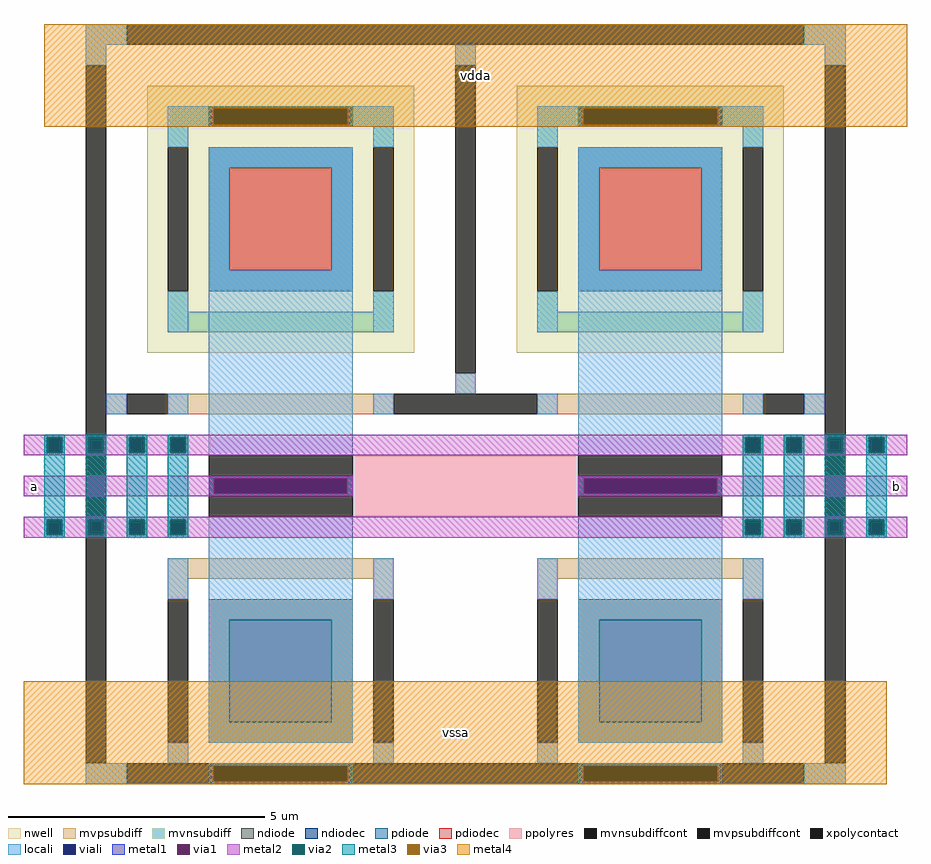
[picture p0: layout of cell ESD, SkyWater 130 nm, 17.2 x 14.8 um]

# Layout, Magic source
magic
tech sky130A
<< nwell >>
rect -200 920 320 1440
rect 520 920 1040 1440
<< mvpsubdiff >>
rect -320 1520 -240 1560
rect 1080 1520 1160 1560
rect -320 1480 -280 1520
rect 400 1480 440 1520
rect 1120 1480 1160 1520
rect 400 840 440 880
rect -280 800 -240 840
rect -160 800 280 840
rect 560 800 1000 840
rect 1080 800 1120 840
rect -160 480 280 520
rect -160 440 -120 480
rect 240 440 280 480
rect -160 120 -120 160
rect 240 120 280 160
rect 560 480 1000 520
rect 560 440 600 480
rect 960 440 1000 480
rect 560 120 600 160
rect 960 120 1000 160
rect -320 80 -240 120
rect 1080 80 1160 120
<< mvnsubdiff >>
rect -160 1360 -80 1400
rect 200 1360 280 1400
rect -160 1320 -120 1360
rect 240 1320 280 1360
rect -160 1000 -120 1040
rect 240 1000 280 1040
rect -160 960 280 1000
rect 560 1360 640 1400
rect 920 1360 1000 1400
rect 560 1320 600 1360
rect 960 1320 1000 1360
rect 560 1000 600 1040
rect 960 1000 1000 1040
rect 560 960 1000 1000
<< mvpsubdiffcont >>
rect -240 1520 1080 1560
rect -320 120 -280 1480
rect 400 880 440 1480
rect -240 800 -160 840
rect 280 800 560 840
rect 1000 800 1080 840
rect -160 160 -120 440
rect 240 160 280 440
rect 560 160 600 440
rect 960 160 1000 440
rect 1120 120 1160 1480
rect -240 80 1080 120
<< mvnsubdiffcont >>
rect -80 1360 200 1400
rect -160 1040 -120 1320
rect 240 1040 280 1320
rect 640 1360 920 1400
rect 560 1040 600 1320
rect 960 1040 1000 1320
<< xpolycontact >>
rect -80 600 200 720
rect 640 600 920 720
<< ppolyres >>
rect 200 600 640 720
<< pdiode >>
rect -80 1280 200 1320
rect -80 1080 -40 1280
rect 160 1080 200 1280
rect -80 1040 200 1080
rect 640 1280 920 1320
rect 640 1080 680 1280
rect 880 1080 920 1280
rect 640 1040 920 1080
<< ndiode >>
rect -80 400 200 440
rect -80 200 -40 400
rect 160 200 200 400
rect -80 160 200 200
rect 640 400 920 440
rect 640 200 680 400
rect 880 200 920 400
rect 640 160 920 200
<< pdiodec >>
rect -40 1080 160 1280
rect 680 1080 880 1280
<< ndiodec >>
rect -40 200 160 400
rect 680 200 880 400
<< locali >>
rect -320 1520 -240 1560
rect 1080 1520 1160 1560
rect -320 1480 -280 1520
rect -400 750 -360 760
rect -400 730 -390 750
rect -370 730 -360 750
rect -400 590 -360 730
rect -400 570 -390 590
rect -370 570 -360 590
rect -400 560 -360 570
rect 400 1480 440 1520
rect -160 1360 -80 1400
rect 200 1360 280 1400
rect -160 1320 -120 1360
rect 240 1320 280 1360
rect -160 960 -120 1040
rect -80 1280 200 1320
rect -80 1080 -40 1280
rect 160 1080 200 1280
rect -280 800 -240 840
rect -160 800 -120 840
rect -240 750 -200 760
rect -240 730 -230 750
rect -210 730 -200 750
rect -240 590 -200 730
rect -240 570 -230 590
rect -210 570 -200 590
rect -240 560 -200 570
rect -160 750 -120 760
rect -160 730 -150 750
rect -130 730 -120 750
rect -160 590 -120 730
rect -160 570 -150 590
rect -130 570 -120 590
rect -160 560 -120 570
rect -80 720 200 1080
rect 240 960 280 1040
rect 1120 1480 1160 1520
rect 560 1360 640 1400
rect 920 1360 1000 1400
rect 560 1320 600 1360
rect 960 1320 1000 1360
rect 560 960 600 1040
rect 640 1280 920 1320
rect 640 1080 680 1280
rect 880 1080 920 1280
rect 400 840 440 880
rect 240 800 280 840
rect 560 800 600 840
rect -160 440 -120 520
rect -80 400 200 600
rect 640 720 920 1080
rect 960 960 1000 1040
rect 960 800 1000 840
rect 1080 800 1120 840
rect -80 200 -40 400
rect 160 200 200 400
rect -80 160 200 200
rect 240 440 280 520
rect -160 120 -120 160
rect 240 120 280 160
rect 560 440 600 520
rect 640 400 920 600
rect 960 750 1000 760
rect 960 730 970 750
rect 990 730 1000 750
rect 960 590 1000 730
rect 960 570 970 590
rect 990 570 1000 590
rect 960 560 1000 570
rect 1040 750 1080 760
rect 1040 730 1050 750
rect 1070 730 1080 750
rect 1040 590 1080 730
rect 1040 570 1050 590
rect 1070 570 1080 590
rect 1040 560 1080 570
rect 640 200 680 400
rect 880 200 920 400
rect 640 160 920 200
rect 960 440 1000 520
rect 560 120 600 160
rect 960 120 1000 160
rect 1200 750 1240 760
rect 1200 730 1210 750
rect 1230 730 1240 750
rect 1200 590 1240 730
rect 1200 570 1210 590
rect 1230 570 1240 590
rect 1200 560 1240 570
rect -320 80 -240 120
rect 1080 80 1160 120
<< viali >>
rect -390 730 -370 750
rect -390 570 -370 590
rect -70 1365 190 1395
rect -310 730 -290 750
rect -310 570 -290 590
rect -230 730 -210 750
rect -230 570 -210 590
rect -150 730 -130 750
rect -150 570 -130 590
rect 650 1365 910 1395
rect -70 645 190 675
rect 650 645 910 675
rect 970 730 990 750
rect 970 570 990 590
rect 1050 730 1070 750
rect 1050 570 1070 590
rect 1130 730 1150 750
rect 1130 570 1150 590
rect 1210 730 1230 750
rect 1210 570 1230 590
rect -70 85 190 115
rect 650 85 910 115
<< metal1 >>
rect -80 1395 200 1400
rect -80 1365 -70 1395
rect 190 1365 200 1395
rect -80 1360 200 1365
rect 640 1395 920 1400
rect 640 1365 650 1395
rect 910 1365 920 1395
rect 640 1360 920 1365
rect -400 755 -360 760
rect -400 725 -395 755
rect -365 725 -360 755
rect -400 720 -360 725
rect -320 755 -280 760
rect -320 725 -315 755
rect -285 725 -280 755
rect -320 720 -280 725
rect -240 755 -200 760
rect -240 725 -235 755
rect -205 725 -200 755
rect -240 720 -200 725
rect -160 755 -120 760
rect -160 725 -155 755
rect -125 725 -120 755
rect -160 720 -120 725
rect 960 755 1000 760
rect 960 725 965 755
rect 995 725 1000 755
rect 960 720 1000 725
rect 1040 755 1080 760
rect 1040 725 1045 755
rect 1075 725 1080 755
rect 1040 720 1080 725
rect 1120 755 1160 760
rect 1120 725 1125 755
rect 1155 725 1160 755
rect 1120 720 1160 725
rect 1200 755 1240 760
rect 1200 725 1205 755
rect 1235 725 1240 755
rect 1200 720 1240 725
rect -80 675 200 680
rect -80 645 -70 675
rect 190 645 200 675
rect -80 640 200 645
rect 640 675 920 680
rect 640 645 650 675
rect 910 645 920 675
rect 640 640 920 645
rect -400 595 -360 600
rect -400 565 -395 595
rect -365 565 -360 595
rect -400 560 -360 565
rect -320 595 -280 600
rect -320 565 -315 595
rect -285 565 -280 595
rect -320 560 -280 565
rect -240 595 -200 600
rect -240 565 -235 595
rect -205 565 -200 595
rect -240 560 -200 565
rect -160 595 -120 600
rect -160 565 -155 595
rect -125 565 -120 595
rect -160 560 -120 565
rect 960 595 1000 600
rect 960 565 965 595
rect 995 565 1000 595
rect 960 560 1000 565
rect 1040 595 1080 600
rect 1040 565 1045 595
rect 1075 565 1080 595
rect 1040 560 1080 565
rect 1120 595 1160 600
rect 1120 565 1125 595
rect 1155 565 1160 595
rect 1120 560 1160 565
rect 1200 595 1240 600
rect 1200 565 1205 595
rect 1235 565 1240 595
rect 1200 560 1240 565
rect -80 115 200 120
rect -80 85 -70 115
rect 190 85 200 115
rect -80 80 200 85
rect 640 115 920 120
rect 640 85 650 115
rect 910 85 920 115
rect 640 80 920 85
<< via1 >>
rect -70 1365 190 1395
rect 650 1365 910 1395
rect -395 750 -365 755
rect -395 730 -390 750
rect -390 730 -370 750
rect -370 730 -365 750
rect -395 725 -365 730
rect -315 750 -285 755
rect -315 730 -310 750
rect -310 730 -290 750
rect -290 730 -285 750
rect -315 725 -285 730
rect -235 750 -205 755
rect -235 730 -230 750
rect -230 730 -210 750
rect -210 730 -205 750
rect -235 725 -205 730
rect -155 750 -125 755
rect -155 730 -150 750
rect -150 730 -130 750
rect -130 730 -125 750
rect -155 725 -125 730
rect 965 750 995 755
rect 965 730 970 750
rect 970 730 990 750
rect 990 730 995 750
rect 965 725 995 730
rect 1045 750 1075 755
rect 1045 730 1050 750
rect 1050 730 1070 750
rect 1070 730 1075 750
rect 1045 725 1075 730
rect 1125 750 1155 755
rect 1125 730 1130 750
rect 1130 730 1150 750
rect 1150 730 1155 750
rect 1125 725 1155 730
rect 1205 750 1235 755
rect 1205 730 1210 750
rect 1210 730 1230 750
rect 1230 730 1235 750
rect 1205 725 1235 730
rect -70 645 190 675
rect 650 645 910 675
rect -395 590 -365 595
rect -395 570 -390 590
rect -390 570 -370 590
rect -370 570 -365 590
rect -395 565 -365 570
rect -315 590 -285 595
rect -315 570 -310 590
rect -310 570 -290 590
rect -290 570 -285 590
rect -315 565 -285 570
rect -235 590 -205 595
rect -235 570 -230 590
rect -230 570 -210 590
rect -210 570 -205 590
rect -235 565 -205 570
rect -155 590 -125 595
rect -155 570 -150 590
rect -150 570 -130 590
rect -130 570 -125 590
rect -155 565 -125 570
rect 965 590 995 595
rect 965 570 970 590
rect 970 570 990 590
rect 990 570 995 590
rect 965 565 995 570
rect 1045 590 1075 595
rect 1045 570 1050 590
rect 1050 570 1070 590
rect 1070 570 1075 590
rect 1045 565 1075 570
rect 1125 590 1155 595
rect 1125 570 1130 590
rect 1130 570 1150 590
rect 1150 570 1155 590
rect 1125 565 1155 570
rect 1205 590 1235 595
rect 1205 570 1210 590
rect 1210 570 1230 590
rect 1230 570 1235 590
rect 1205 565 1235 570
rect -70 85 190 115
rect 650 85 910 115
<< metal2 >>
rect -80 1395 200 1400
rect -80 1365 -70 1395
rect 190 1365 200 1395
rect -80 1360 200 1365
rect 640 1395 920 1400
rect 640 1365 650 1395
rect 910 1365 920 1395
rect 640 1360 920 1365
rect -440 755 1280 760
rect -440 725 -395 755
rect -365 725 -315 755
rect -285 725 -235 755
rect -205 725 -155 755
rect -125 725 965 755
rect 995 725 1045 755
rect 1075 725 1125 755
rect 1155 725 1205 755
rect 1235 725 1280 755
rect -440 720 1280 725
rect -440 675 200 680
rect -440 645 -70 675
rect 190 645 200 675
rect -440 640 200 645
rect 640 675 1280 680
rect 640 645 650 675
rect 910 645 1280 675
rect 640 640 1280 645
rect -440 595 1280 600
rect -440 565 -395 595
rect -365 565 -315 595
rect -285 565 -235 595
rect -205 565 -155 595
rect -125 565 965 595
rect 995 565 1045 595
rect 1075 565 1125 595
rect 1155 565 1205 595
rect 1235 565 1280 595
rect -440 560 1280 565
rect -80 115 200 120
rect -80 85 -70 115
rect 190 85 200 115
rect -80 80 200 85
rect 640 115 920 120
rect 640 85 650 115
rect 910 85 920 115
rect 640 80 920 85
<< via2 >>
rect -70 1365 190 1395
rect 650 1365 910 1395
rect -395 725 -365 755
rect -315 725 -285 755
rect -235 725 -205 755
rect -155 725 -125 755
rect 965 725 995 755
rect 1045 725 1075 755
rect 1125 725 1155 755
rect 1205 725 1235 755
rect -395 565 -365 595
rect -315 565 -285 595
rect -235 565 -205 595
rect -155 565 -125 595
rect 965 565 995 595
rect 1045 565 1075 595
rect 1125 565 1155 595
rect 1205 565 1235 595
rect -70 85 190 115
rect 650 85 910 115
<< metal3 >>
rect -80 1396 200 1400
rect -80 1364 -71 1396
rect 191 1364 200 1396
rect -80 1360 200 1364
rect 640 1396 920 1400
rect 640 1364 649 1396
rect 911 1364 920 1396
rect 640 1360 920 1364
rect -400 755 -360 760
rect -400 725 -395 755
rect -365 725 -360 755
rect -400 595 -360 725
rect -400 565 -395 595
rect -365 565 -360 595
rect -400 560 -360 565
rect -320 755 -280 760
rect -320 725 -315 755
rect -285 725 -280 755
rect -320 595 -280 725
rect -320 565 -315 595
rect -285 565 -280 595
rect -320 560 -280 565
rect -240 755 -200 760
rect -240 725 -235 755
rect -205 725 -200 755
rect -240 595 -200 725
rect -240 565 -235 595
rect -205 565 -200 595
rect -240 560 -200 565
rect -160 755 -120 760
rect -160 725 -155 755
rect -125 725 -120 755
rect -160 595 -120 725
rect -160 565 -155 595
rect -125 565 -120 595
rect -160 560 -120 565
rect 960 755 1000 760
rect 960 725 965 755
rect 995 725 1000 755
rect 960 595 1000 725
rect 960 565 965 595
rect 995 565 1000 595
rect 960 560 1000 565
rect 1040 755 1080 760
rect 1040 725 1045 755
rect 1075 725 1080 755
rect 1040 595 1080 725
rect 1040 565 1045 595
rect 1075 565 1080 595
rect 1040 560 1080 565
rect 1120 755 1160 760
rect 1120 725 1125 755
rect 1155 725 1160 755
rect 1120 595 1160 725
rect 1120 565 1125 595
rect 1155 565 1160 595
rect 1120 560 1160 565
rect 1200 755 1240 760
rect 1200 725 1205 755
rect 1235 725 1240 755
rect 1200 595 1240 725
rect 1200 565 1205 595
rect 1235 565 1240 595
rect 1200 560 1240 565
rect -80 116 200 120
rect -80 84 -71 116
rect 191 84 200 116
rect -80 80 200 84
rect 640 116 920 120
rect 640 84 649 116
rect 911 84 920 116
rect 640 80 920 84
<< via3 >>
rect -71 1395 191 1396
rect -71 1365 -70 1395
rect -70 1365 190 1395
rect 190 1365 191 1395
rect -71 1364 191 1365
rect 649 1395 911 1396
rect 649 1365 650 1395
rect 650 1365 910 1395
rect 910 1365 911 1395
rect 649 1364 911 1365
rect -71 115 191 116
rect -71 85 -70 115
rect -70 85 190 115
rect 190 85 191 115
rect -71 84 191 85
rect 649 115 911 116
rect 649 85 650 115
rect 650 85 910 115
rect 910 85 911 115
rect 649 84 911 85
<< metal4 >>
rect -400 1396 1280 1560
rect -400 1364 -71 1396
rect 191 1364 649 1396
rect 911 1364 1280 1396
rect -400 1360 1280 1364
rect -440 116 1240 280
rect -440 84 -71 116
rect 191 84 649 116
rect 911 84 1240 116
rect -440 80 1240 84
<< labels >>
rlabel metal2 -440 640 -400 680 0 a
port 1 nsew
rlabel metal2 1240 640 1280 680 0 b
port 2 nsew
rlabel metal4 -400 1360 1280 1560 0 vdda
port 3 nsew
rlabel metal4 -440 80 1240 280 0 vssa
port 4 nsew
<< end >>
